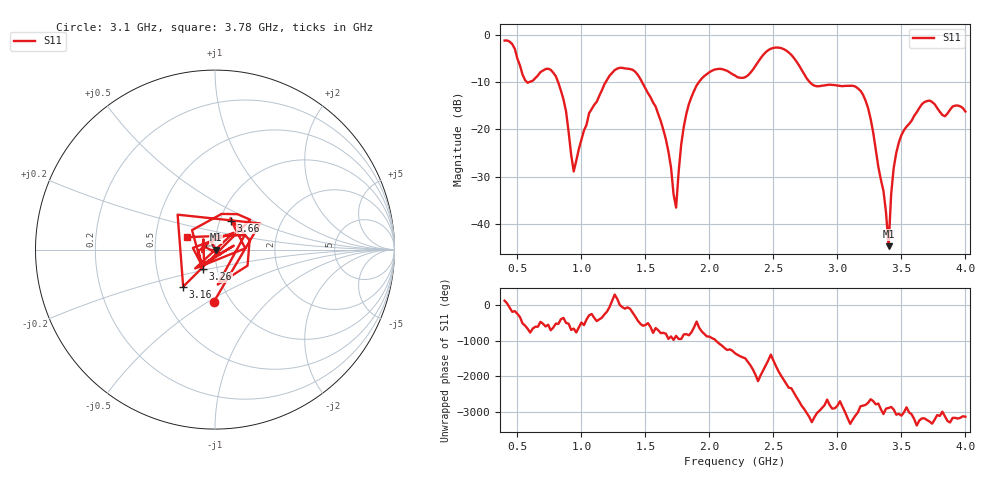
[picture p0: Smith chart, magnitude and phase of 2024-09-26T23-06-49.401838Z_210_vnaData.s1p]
!Created with skrf (http://scikit-rf.org).
# Hz S RI R 50.0
!freq ReS11 ImS11
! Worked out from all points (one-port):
!   181 points, 400 MHz to 4 GHz, reference 50 ohm
!   lowest |S11| = -44.8 dB at 3.4 GHz (marker M1), VSWR 1.01, Z = 50.6 - j0.0687 ohm
!   |S11| at or under -10 dB: 818.4 MHz to 1.189 GHz (370.7 MHz wide, 36.9 % of centre); 1.475 GHz to 1.917 GHz (442.6 MHz wide, 26.1 % of centre); 2.785 GHz to end of sweep (the widest 3 of 4)
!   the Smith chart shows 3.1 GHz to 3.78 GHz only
!   S11 on the Smith chart (normalised r, x): 3.1 GHz: 0.83, -0.53; 3.16 GHz: 0.65, -0.29; 3.26 GHz: 0.85, -0.19; 3.66 GHz: 1.13, +0.38; 3.78 GHz: 0.73, +0.10
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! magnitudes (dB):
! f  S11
! 400 MHz  -1.2
! 580 MHz  -10.1
! 760 MHz  -7.4
! 860 MHz  -13.7
! 940 MHz  -28.9
! 1.06 GHz  -16.6
! 1.3 GHz  -6.9
! 1.58 GHz  -15.2
! 1.68 GHz  -24.7
! 1.74 GHz  -36.6
! 1.76 GHz  -28.9
! 1.82 GHz  -16.7
! 1.9 GHz  -10.7
! 2.2 GHz  -8.6
! 2.5 GHz  -2.7
! 2.66 GHz  -4.9
! 2.82 GHz  -10.7
! 3.1 GHz  -10.7
! 3.16 GHz  -11.3
! 3.26 GHz  -17.8
! 3.36 GHz  -33.0
! 3.4 GHz  -44.8
! 3.42 GHz  -33.7
! 3.44 GHz  -28.2
! 3.56 GHz  -18.8
! 3.66 GHz  -14.7
! 3.78 GHz  -15.5
! 4 GHz  -16.2
